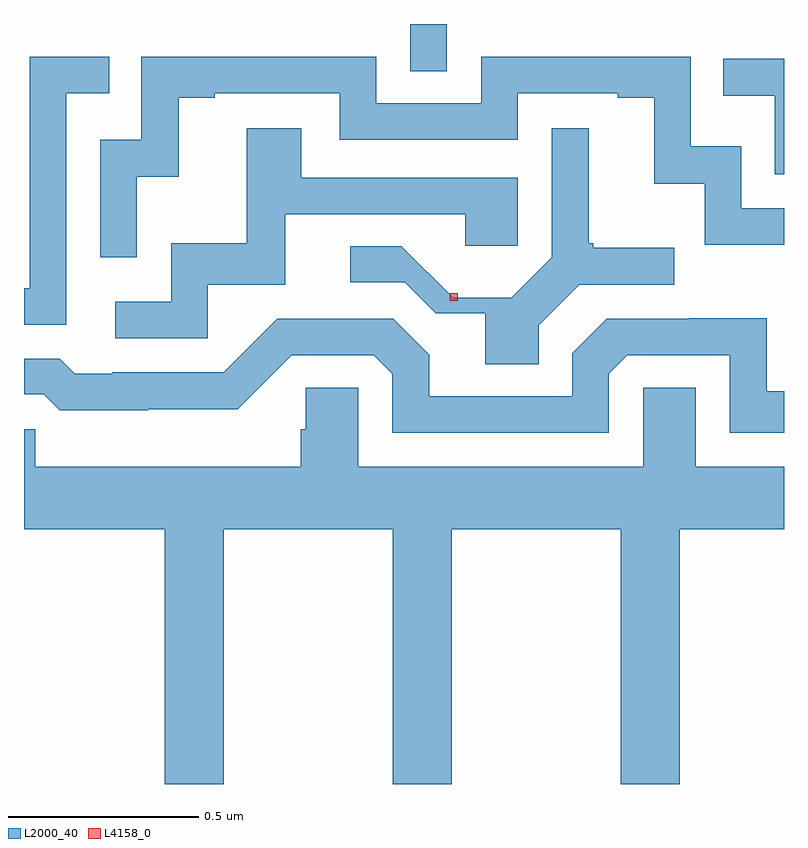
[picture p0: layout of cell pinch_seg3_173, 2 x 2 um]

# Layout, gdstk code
import gdstk
lib = gdstk.Library(unit=1e-6, precision=1e-09)
def R(c, l, rs):  # rectangles x0, y0, x1, y1
    for r in rs: c.add(gdstk.rectangle(r[:2], r[2:], *l))
def P(c, l, *ps):  # polygons
    for p in ps: c.add(gdstk.Polygon(p, *l))
L2000_40 = (2000, 40)
L4158_0 = (4158, 0)

pinch_seg3_173 = lib.new_cell('pinch_seg3_173')
R(pinch_seg3_173, L2000_40, [(1138.086,720.769,1138.182,720.893)])
P(pinch_seg3_173, L2000_40, [(1137.366,720.491),(1137.476,720.491),(1137.476,720.699),(1137.571,720.699),(1137.571,720.711),(1137.9,720.711),(1137.9,720.588),(1138.368,720.588),(1138.368,720.711),(1138.631,720.711),(1138.631,720.699),(1138.727,720.699),(1138.727,720.473),(1138.86,720.473),(1138.86,720.312),(1139.069,720.312),(1139.069,720.408),(1138.956,720.408),(1138.956,720.571),(1138.824,720.571),(1138.824,720.807),(1138.272,720.807),(1138.272,720.684),(1137.996,720.684),(1137.996,720.807),(1137.378,720.807),(1137.378,720.588),(1137.27,720.588),(1137.27,720.279),(1137.366,720.279)],
  [(1137.18,720.711),(1137.293,720.711),(1137.293,720.807),(1137.084,720.807),(1137.084,720.198),(1137.069,720.198),(1137.069,720.102),(1137.18,720.102)],
  [(1139.069,720.801),(1138.909,720.801),(1138.909,720.704),(1139.044,720.704),(1139.044,720.498),(1139.069,720.498)],
  [(1137.552,720.207),(1137.757,720.207),(1137.757,720.393),(1138.23,720.393),(1138.23,720.309),(1138.368,720.309),(1138.368,720.489),(1137.799,720.489),(1137.799,720.619),(1137.655,720.619),(1137.655,720.316),(1137.456,720.316),(1137.456,720.162),(1137.309,720.162),(1137.309,720.066),(1137.552,720.066)],
  [(1138.423,720.1),(1138.53,720.207),(1138.78,720.207),(1138.78,720.304),(1138.567,720.304),(1138.567,720.316),(1138.555,720.316),(1138.555,720.619),(1138.458,720.619),(1138.458,720.279),(1138.351,720.172),(1138.198,720.172),(1138.062,720.308),(1137.927,720.308),(1137.927,720.213),(1138.071,720.213),(1138.152,720.132),(1138.283,720.132),(1138.283,719.998),(1138.423,719.998)],
  [(1138.608,719.973),(1138.656,720.021),(1138.926,720.021),(1138.926,719.817),(1139.069,719.817),(1139.069,719.926),(1139.023,719.926),(1139.023,720.119),(1138.818,720.119),(1138.818,720.117),(1138.602,720.117),(1138.512,720.027),(1138.512,719.913),(1138.135,719.913),(1138.135,720.023),(1138.041,720.117),(1137.735,720.117),(1137.594,719.976),(1137.301,719.976),(1137.301,719.973),(1137.202,719.973),(1137.163,720.012),(1137.069,720.012),(1137.069,719.919),(1137.121,719.919),(1137.163,719.877),(1137.396,719.877),(1137.396,719.879),(1137.632,719.879),(1137.774,720.021),(1137.99,720.021),(1138.038,719.973),(1138.038,719.817),(1138.608,719.817)],
  [(1137.594,719.564),(1138.039,719.564),(1138.039,718.893),(1138.194,718.893),(1138.194,719.564),(1138.639,719.564),(1138.639,718.893),(1138.794,718.893),(1138.794,719.564),(1139.069,719.564),(1139.069,719.728),(1138.837,719.728),(1138.837,719.936),(1138.698,719.936),(1138.698,719.728),(1137.948,719.728),(1137.948,719.936),(1137.811,719.936),(1137.811,719.826),(1137.797,719.826),(1137.797,719.728),(1137.099,719.728),(1137.099,719.826),(1137.069,719.826),(1137.069,719.564),(1137.439,719.564),(1137.439,718.893),(1137.594,718.893)])
R(pinch_seg3_173, L4158_0, [(1138.19,720.165,1138.21,720.185)])

lib.write_gds('pinch_seg3_173.gds')
